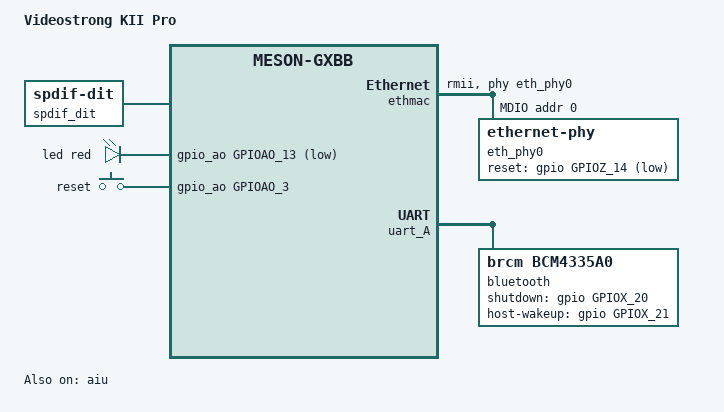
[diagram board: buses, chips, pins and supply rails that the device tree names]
// SPDX-License-Identifier: (GPL-2.0+ OR MIT)
/*
 * Copyright (c) 2019 Mohammad Rasim <mohammad.rasim96@gmail.com>
 */

/dts-v1/;

#include "meson-gxbb-p20x.dtsi"
#include <dt-bindings/gpio/gpio.h>
#include <dt-bindings/input/input.h>
#include <dt-bindings/leds/common.h>
#include <dt-bindings/sound/meson-aiu.h>

/ {
	compatible = "videostrong,kii-pro", "amlogic,meson-gxbb";
	model = "Videostrong KII Pro";

	spdif_dit: audio-codec-0 {
		#sound-dai-cells = <0>;
		compatible = "linux,spdif-dit";
		sound-name-prefix = "DIT";
	};

	leds {
		compatible = "gpio-leds";
		led {
			gpios = <&gpio_ao GPIOAO_13 GPIO_ACTIVE_LOW>;
			color = <LED_COLOR_ID_RED>;
			function = LED_FUNCTION_STATUS;
			default-state = "off";
		};
	};

	gpio-keys-polled {
		compatible = "gpio-keys-polled";
		poll-interval = <20>;

		button-reset {
			label = "reset";
			linux,code = <KEY_POWER>;
			gpios = <&gpio_ao GPIOAO_3 GPIO_ACTIVE_HIGH>;
		};
	};

	sound {
		compatible = "amlogic,gx-sound-card";
		model = "KII-PRO";
		clocks = <&clkc CLKID_MPLL0>,
			 <&clkc CLKID_MPLL1>,
			 <&clkc CLKID_MPLL2>;

		assigned-clocks = <&clkc CLKID_MPLL0>,
				  <&clkc CLKID_MPLL1>,
				  <&clkc CLKID_MPLL2>;
		assigned-clock-parents = <0>, <0>, <0>;
		assigned-clock-rates = <294912000>,
				       <270950400>,
				       <393216000>;

		dai-link-0 {
			sound-dai = <&aiu AIU_CPU CPU_I2S_FIFO>;
		};

		dai-link-1 {
			sound-dai = <&aiu AIU_CPU CPU_SPDIF_FIFO>;
		};

		dai-link-2 {
			sound-dai = <&aiu AIU_CPU CPU_I2S_ENCODER>;
			dai-format = "i2s";
			mclk-fs = <256>;

			codec-0 {
				sound-dai = <&aiu AIU_HDMI CTRL_I2S>;
			};
		};

		dai-link-3 {
			sound-dai = <&aiu AIU_CPU CPU_SPDIF_ENCODER>;

			codec-0 {
				sound-dai = <&spdif_dit>;
			};
		};

		dai-link-4 {
			sound-dai = <&aiu AIU_HDMI CTRL_OUT>;

			codec-0 {
				sound-dai = <&hdmi_tx>;
			};
		};
	};
};

&aiu {
	status = "okay";
	pinctrl-0 = <&spdif_out_y_pins>;
	pinctrl-names = "default";
};

&ethmac {
	status = "okay";
	pinctrl-0 = <&eth_rmii_pins>;
	pinctrl-names = "default";

	phy-handle = <&eth_phy0>;
	phy-mode = "rmii";

	mdio {
		compatible = "snps,dwmac-mdio";
		#address-cells = <1>;
		#size-cells = <0>;

		eth_phy0: ethernet-phy@0 {
			/* IC Plus IP101GR (0x02430c54) */
			reg = <0>;
			reset-assert-us = <10000>;
			reset-deassert-us = <10000>;
			reset-gpios = <&gpio GPIOZ_14 GPIO_ACTIVE_LOW>;
		};
	};
};

&ir {
	linux,rc-map-name = "rc-videostrong-kii-pro";
};

&uart_A {
	status = "okay";
	pinctrl-0 = <&uart_a_pins>, <&uart_a_cts_rts_pins>;
	pinctrl-names = "default";
	uart-has-rtscts;

	bluetooth {
		compatible = "brcm,bcm4335a0";
		shutdown-gpios = <&gpio GPIOX_20 GPIO_ACTIVE_HIGH>;
		host-wakeup-gpios = <&gpio GPIOX_21 GPIO_ACTIVE_HIGH>;
		max-speed = <2000000>;
		clocks = <&wifi32k>;
		clock-names = "lpo";
	};
};
